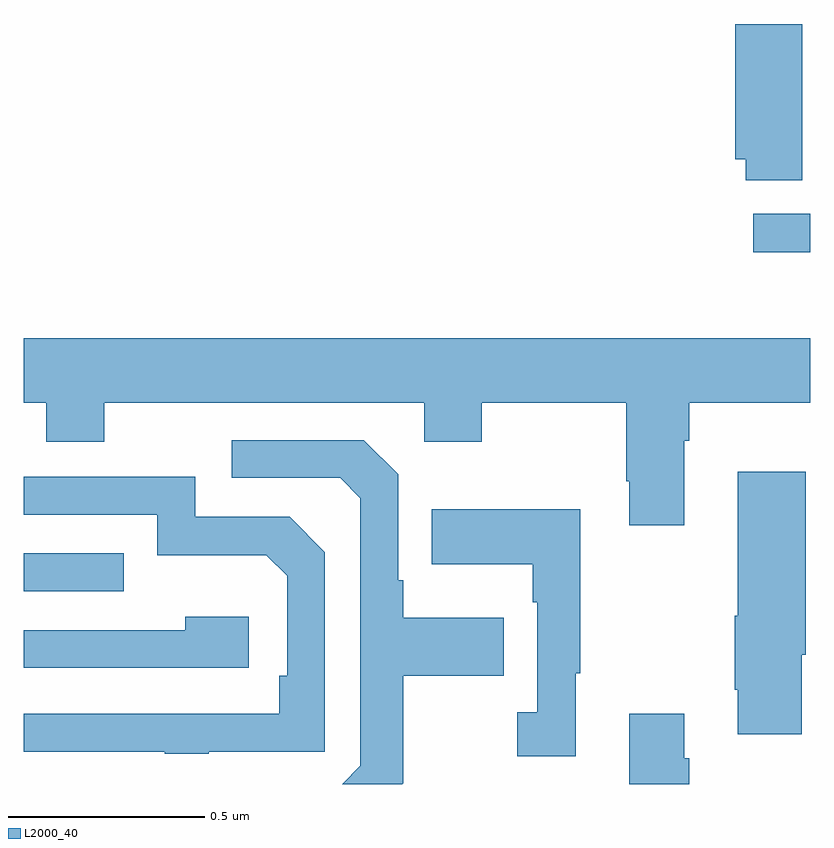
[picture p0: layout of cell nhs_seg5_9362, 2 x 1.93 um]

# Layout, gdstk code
import gdstk
lib = gdstk.Library(unit=1e-6, precision=1e-09)
def R(c, l, rs):  # rectangles x0, y0, x1, y1
    for r in rs: c.add(gdstk.rectangle(r[:2], r[2:], *l))
def P(c, l, *ps):  # polygons
    for p in ps: c.add(gdstk.Polygon(p, *l))
L2000_40 = (2000, 40)

nhs_seg5_9362 = lib.new_cell('nhs_seg5_9362')
R(nhs_seg5_9362, L2000_40, [(233,848.289,233.255,848.385), (234.855,849.151,235,849.249)])
P(nhs_seg5_9362, L2000_40, [(234.979,849.731),(234.809,849.731),(234.809,849.387),(234.836,849.387),(234.836,849.334),(234.979,849.334)],
  [(233,848.768),(233.057,848.768),(233.057,848.669),(233.205,848.669),(233.205,848.768),(234.018,848.768),(234.018,848.669),(234.165,848.669),(234.165,848.768),(234.532,848.768),(234.532,848.569),(234.539,848.569),(234.539,848.457),(234.679,848.457),(234.679,848.672),(234.692,848.672),(234.692,848.768),(235,848.768),(235,848.932),(233,848.932)],
  [(233.965,847.801),(233.965,848.074),(234.221,848.074),(234.221,848.221),(233.965,848.221),(233.965,848.317),(233.952,848.317),(233.952,848.586),(233.865,848.673),(233.529,848.673),(233.529,848.577),(233.805,848.577),(233.856,848.526),(233.856,847.845),(233.81,847.799),(233.963,847.799)],
  [(234.978,848.127),(234.988,848.127),(234.988,848.593),(234.815,848.593),(234.815,848.227),(234.808,848.227),(234.808,848.038),(234.815,848.038),(234.815,847.926),(234.978,847.926)],
  [(233.471,847.881),(233.766,847.881),(233.766,848.388),(233.676,848.478),(233.436,848.478),(233.436,848.58),(233,848.58),(233,848.484),(233.34,848.484),(233.34,848.381),(233.617,848.381),(233.67,848.328),(233.67,848.074),(233.65,848.074),(233.65,847.977),(233,847.977),(233,847.881),(233.359,847.881),(233.359,847.876),(233.471,847.876)],
  [(234.403,848.081),(234.415,848.081),(234.415,848.497),(234.037,848.497),(234.037,848.357),(234.294,848.357),(234.294,848.261),(234.306,848.261),(234.306,847.982),(234.255,847.982),(234.255,847.869),(234.403,847.869)],
  [(233.572,848.224),(233.411,848.224),(233.411,848.19),(233,848.19),(233,848.094),(233.572,848.094)],
  [(234.692,847.865),(234.679,847.865),(234.679,847.978),(234.539,847.978),(234.539,847.799),(234.692,847.799)])

lib.write_gds('nhs_seg5_9362.gds')
